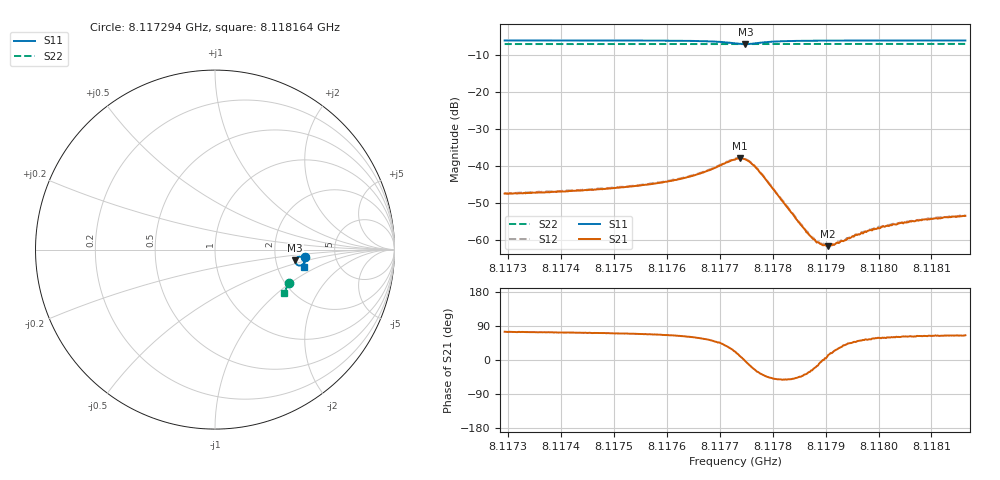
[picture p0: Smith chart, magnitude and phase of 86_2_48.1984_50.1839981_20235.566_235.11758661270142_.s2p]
#  HZ  S  RI  R  50.00
! Rohde & Schwarz Vector Network Analyzer
! Rohde-Schwarz,ZNB20-2Port,1311601062101988,3.16
! Created: UTC 3/20/2024, 11:39:53 AM
! freq[Hz]  re:S11  im:S11  re:S21  im:S21  re:S12  im:S12  re:S22  im:S22
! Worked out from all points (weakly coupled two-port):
!   401 points, 8.117294 GHz to 8.118164 GHz, reference 50 ohm
!   highest |S21| = -37.92 dB at 8.117738 GHz (marker M1); lowest = -61.8 dB at 8.117905 GHz (marker M2)
!   lowest |S11| = -6.9 dB at 8.117748 GHz (marker M3), VSWR 2.64, Z = 129 - j19.4 ohm
!   |S11| at or under -10 dB: nowhere
!   |S22| runs from -6.9 to -6.9 dB; largest |S21 - S12| = 0.0004
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8.1172937e9  0.5041 -0.0403  0.00112 0.00405  0.00116 0.00409  0.4101 -0.1888
8.1174395e9  0.5022 -0.0532  0.00145 0.00442  0.00149 0.00446  0.4061 -0.1982
8.1175222e9  0.5004 -0.0614  0.00177 0.00486  0.00184 0.00489  0.4037 -0.2036
8.1175853e9  0.4979 -0.069  0.0023 0.0054  0.00241 0.00546  0.4016 -0.2078
8.1176244e9  0.495 -0.0749  0.00293 0.00593  0.00304 0.00602  0.4004 -0.2101
8.1176571e9  0.4905 -0.0808  0.004 0.00653  0.00409 0.00662  0.3991 -0.2124
8.1177289e9  0.4544 -0.0824  0.0113 0.00459  0.0116 0.00456  0.3954 -0.2163
8.1177376e9  0.4486 -0.074  0.0125 0.00239  0.0126 0.00246  0.3951 -0.2163
8.1177485e9  0.4468 -0.06  0.0123 -0.000664  0.0124 -0.000864  0.3949 -0.2163
8.1177615e9  0.455 -0.0455  0.00988 -0.0036  0.0101 -0.00381  0.395 -0.2166
8.1177768e9  0.4697 -0.0395  0.00648 -0.00473  0.00663 -0.00479  0.3953 -0.2173
8.1178573e9  0.4967 -0.0588  0.0011 -0.000962  0.0011 -0.00097  0.3938 -0.2235
8.1178747e9  0.4976 -0.0621  0.000935 -0.00048  0.000934 -0.000517  0.3932 -0.2246
8.1178899e9  0.4982 -0.0649  0.000867 -9.54e-05  0.000878 -0.000125  0.3928 -0.2258
8.1178986e9  0.4983 -0.0663  0.000838 6.67e-05  0.000856 4.66e-05  0.3926 -0.2262
8.1179051e9  0.4983 -0.0673  0.00079 0.000187  0.000833 0.000187  0.3924 -0.2266
8.1179182e9  0.4984 -0.0693  0.00078 0.000376  0.000798 0.000364  0.3919 -0.2274
8.1179312e9  0.4986 -0.0709  0.00078 0.000556  0.000773 0.00056  0.3914 -0.2284
8.1179791e9  0.4984 -0.0768  0.000785 0.00105  0.000771 0.00109  0.3899 -0.2314
8.1180205e9  0.498 -0.0811  0.000783 0.00132  0.000798 0.00137  0.3885 -0.2339
8.1180836e9  0.4973 -0.0871  0.00085 0.00166  0.000863 0.0017  0.3864 -0.2379
8.1181641e9  0.496 -0.0942  0.000876 0.0019  0.000922 0.00193  0.3836 -0.2429
